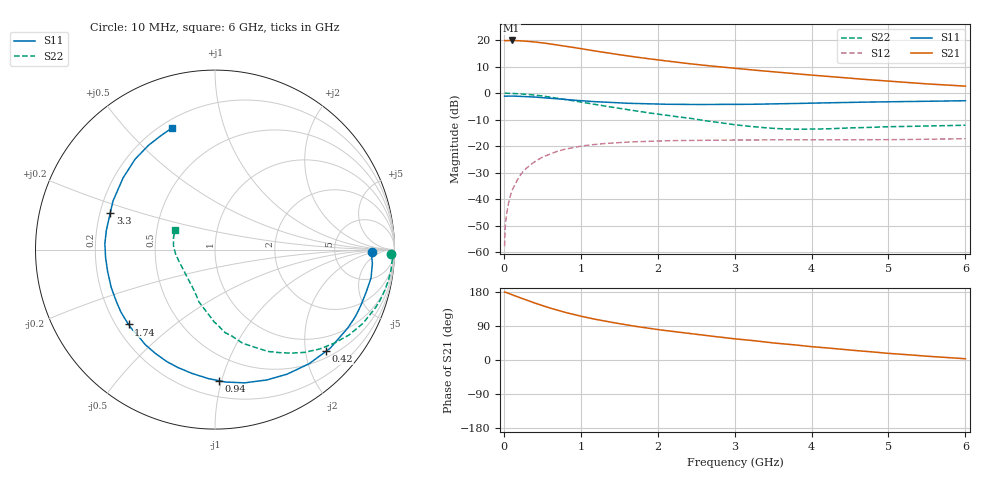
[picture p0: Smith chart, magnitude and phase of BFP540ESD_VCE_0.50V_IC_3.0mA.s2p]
! Infineon Technologies  Discrete & RF Semiconductors
! BFP540ESD
! VCE = 0.50 V,  IC =  3.0 mA
! Common Emitter S-Parameters:  Nov 2015
# GHz  S  MA  R  50
!  f  S11  S21  S12  S22
! GHz  MAG  ANG  MAG  ANG  MAG  ANG  MAG  ANG
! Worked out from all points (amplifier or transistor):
!   210 points, 10 MHz to 6 GHz, reference 50 ohm
!   highest |S21| = 19.9 dB at 100 MHz (marker M1)
!   |S21| within 3 dB of that: start of sweep to 981.1 MHz
!   unconditionally stable (mu >= 1): 3.857 GHz to end of sweep
!   at 185 MHz: K = 0.02, MSG = 26.0 dB, |S12| = -32.2 dB
!   at 1.52 GHz: K = 0.37, MSG = 16.5 dB, |S12| = -18.6 dB
!   at 6 GHz: K = 1.32, MAG = 6.5 dB, |S12| = -17.2 dB
!   S11 on the Smith chart (normalised r, x): 10 MHz: 15, -2; 420 MHz: 0.64, -2.43; 940 MHz: 0.31, -0.98; 1.74 GHz: 0.25, -0.35; 3.3 GHz: 0.24, +0.16; 6 GHz: 0.24, +0.68
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0.01  0.8774 -0.9  9.831 179.3  0.0013 85.0  0.9801 -1.4
0.02  0.8732 -2.3  9.737 179.0  0.0033 89.5  1 -1.5
0.03  0.8754 -3.2  9.764 178.1  0.0045 87.7  0.9963 -2.1
0.1  0.8835 -10.3  9.845 172.8  0.0137 86.3  0.9873 -6.8
0.15  0.8756 -15.4  9.808 169.0  0.0195 81.7  0.9814 -10.1
0.26  0.8649 -26.5  9.593 160.8  0.0343 76.2  0.9607 -17.4
0.42  0.8388 -42.5  9.148 149.1  0.0528 67.3  0.9134 -27.6
0.5  0.8241 -50.5  8.914 143.5  0.062 63.6  0.8846 -32.6
0.62  0.7965 -61.5  8.41 135.9  0.0728 57.6  0.8353 -39.2
0.8  0.7604 -77.5  7.704 125.5  0.0879 49.9  0.7596 -48.9
0.94  0.7307 -88.2  7.127 118.5  0.0963 44.5  0.7025 -55.1
1.02  0.7153 -94.3  6.824 114.8  0.1008 41.7  0.6716 -58.6
1.2  0.6888 -107.4  6.186 107.0  0.1081 36.1  0.607 -65.8
1.4  0.6669 -119.9  5.596 99.5  0.1147 30.8  0.5449 -73.5
1.74  0.6369 -139.1  4.748 88.0  0.1212 23.5  0.4578 -83.9
2.02  0.6205 -152.6  4.206 79.8  0.1249 19.1  0.3997 -91.0
2.56  0.6103 -174.6  3.398 66.2  0.1287 12.4  0.3112 -105.5
3.1  0.6142 166.8  2.852 54.0  0.1304 7.9  0.2443 -121.0
3.3  0.6183 160.6  2.68 49.8  0.1312 6.3  0.2285 -128.3
4.1  0.6522 139.9  2.128 33.6  0.1314 1.0  0.2107 -161.2
5.1  0.6909 121.1  1.646 16.1  0.1328 -2.5  0.2336 172.1
6  0.7195 109.4  1.355 3.2  0.1381 -3.8  0.2482 153.9
